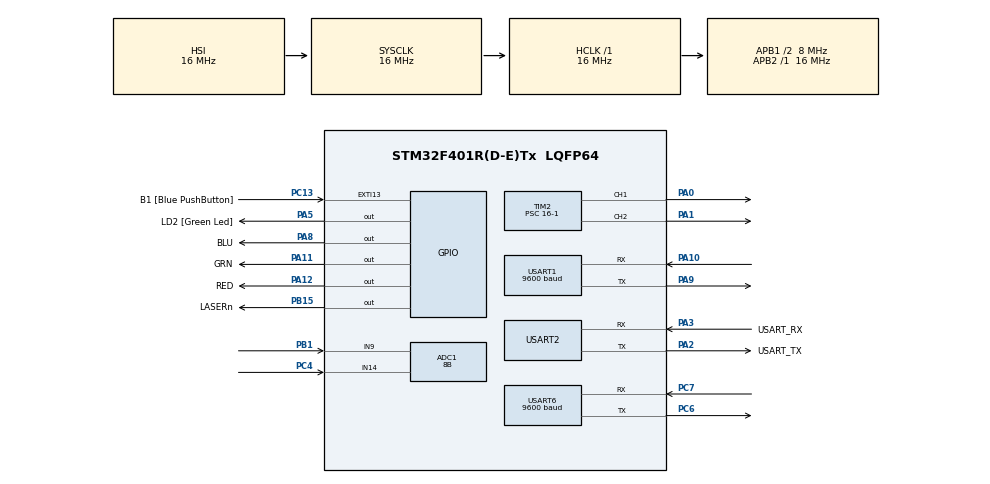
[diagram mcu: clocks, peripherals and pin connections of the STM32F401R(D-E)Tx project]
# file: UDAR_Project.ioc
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ADC1.Channel-0\#ChannelRegularConversion=ADC_CHANNEL_9
ADC1.NbrOfConversionFlag=1
ADC1.Rank-0\#ChannelRegularConversion=1
ADC1.Resolution=ADC_RESOLUTION_8B
ADC1.SamplingTime-0\#ChannelRegularConversion=ADC_SAMPLETIME_15CYCLES
ADC1.ScanConvMode=ENABLE
ADC1.master=1
Mcu.Family=STM32F4
Mcu.Name=STM32F401R(D-E)Tx
Mcu.Package=LQFP64
NVIC.PriorityGroup=NVIC_PRIORITYGROUP_0
NVIC.USART1_IRQn=true\:0\:0\:false\:false\:true\:true\:true\:true
PA0-WKUP.Signal=S_TIM2_CH1_ETR
PA1.Signal=S_TIM2_CH2
PA10.Mode=Asynchronous
PA10.Signal=USART1_RX
PA11.GPIO_Label=GRN
PA11.Signal=GPIO_Output
PA12.GPIO_Label=RED
PA12.Signal=GPIO_Output
PA13.GPIO_Label=TMS
PA13.Mode=Serial_Wire
PA13.Signal=SYS_JTMS-SWDIO
PA14.GPIO_Label=TCK
PA14.Mode=Serial_Wire
PA14.Signal=SYS_JTCK-SWCLK
PA2.GPIO_Label=USART_TX
PA2.GPIO_Mode=GPIO_MODE_AF_PP
PA2.GPIO_PuPd=GPIO_NOPULL
PA2.GPIO_Speed=GPIO_SPEED_FREQ_LOW
PA2.Mode=Asynchronous
PA2.Signal=USART2_TX
PA3.GPIO_Label=USART_RX
PA3.GPIO_Mode=GPIO_MODE_AF_PP
PA3.GPIO_PuPd=GPIO_NOPULL
PA3.GPIO_Speed=GPIO_SPEED_FREQ_LOW
PA3.Mode=Asynchronous
PA3.Signal=USART2_RX
PA5.GPIO_Label=LD2 [Green Led]
PA5.GPIO_Mode=GPIO_MODE_OUTPUT_PP
PA5.GPIO_PuPd=GPIO_NOPULL
PA5.GPIO_Speed=GPIO_SPEED_FREQ_LOW
PA5.Signal=GPIO_Output
PA8.GPIO_Label=BLU
PA8.Signal=GPIO_Output
PA9.Mode=Asynchronous
PA9.Signal=USART1_TX
PB1.Signal=ADCx_IN9
PB15.GPIO_Label=LASERn
PB15.PinState=GPIO_PIN_SET
PB15.Signal=GPIO_Output
PB3.GPIO_Label=SWO
PB3.Signal=SYS_JTDO-SWO
PC13-ANTI_TAMP.GPIO_Label=B1 [Blue PushButton]
PC13-ANTI_TAMP.GPIO_ModeDefaultEXTI=GPIO_MODE_IT_FALLING
PC13-ANTI_TAMP.GPIO_PuPd=GPIO_NOPULL
PC13-ANTI_TAMP.Signal=GPXTI13
PC14-OSC32_IN.Mode=LSE-External-Oscillator
PC14-OSC32_IN.Signal=RCC_OSC32_IN
PC15-OSC32_OUT.Mode=LSE-External-Oscillator
PC15-OSC32_OUT.Signal=RCC_OSC32_OUT
PC4.Signal=ADCx_IN14
PC6.Mode=Asynchronous
PC6.Signal=USART6_TX
PC7.Mode=Asynchronous
PC7.Signal=USART6_RX
PH0\ -\ OSC_IN.Mode=HSE-External-Clock-Source
PH0\ -\ OSC_IN.Signal=RCC_OSC_IN
PH1\ -\ OSC_OUT.Mode=HSE-External-Clock-Source
PH1\ -\ OSC_OUT.Signal=RCC_OSC_OUT
ProjectManager.HeapSize=0x200
ProjectManager.StackSize=0x400
ProjectManager.TargetToolchain=STM32CubeIDE
RCC.48MHZClocksFreq_Value=48000000
RCC.AHBFreq_Value=16000000
RCC.APB1CLKDivider=RCC_HCLK_DIV2
RCC.APB1Freq_Value=8000000
RCC.APB1TimFreq_Value=16000000
RCC.APB2Freq_Value=16000000
RCC.APB2TimFreq_Value=16000000
RCC.CortexFreq_Value=16000000
RCC.HCLKFreq_Value=16000000
RCC.HSE_VALUE=8000000
RCC.HSI_VALUE=16000000
RCC.PLLN=336
RCC.PLLP=RCC_PLLP_DIV4
RCC.PLLQ=7
RCC.SYSCLKFreq_VALUE=16000000
RCC.VCOOutputFreq_Value=336000000
SH.ADCx_IN14.0=ADC1_IN14,IN14
SH.ADCx_IN9.0=ADC1_IN9,IN9
SH.S_TIM2_CH1_ETR.0=TIM2_CH1,PWM Generation1 CH1
SH.S_TIM2_CH2.0=TIM2_CH2,PWM Generation2 CH2
TIM2.AutoReloadPreload=TIM_AUTORELOAD_PRELOAD_ENABLE
TIM2.Channel-PWM\ Generation1\ CH1=TIM_CHANNEL_1
TIM2.Channel-PWM\ Generation2\ CH2=TIM_CHANNEL_2
TIM2.Period=20000-1
TIM2.Prescaler=16-1
TIM2.Pulse-PWM\ Generation1\ CH1=500-1
TIM2.Pulse-PWM\ Generation2\ CH2=2500-1
USART1.BaudRate=9600
USART1.VirtualMode=VM_ASYNC
USART2.VirtualMode=VM_ASYNC
USART6.BaudRate=9600
USART6.Mode=MODE_TX_RX
USART6.VirtualMode=VM_ASYNC
VP_TIM2_VS_ClockSourceINT.Mode=Internal
board=NUCLEO-F401RE

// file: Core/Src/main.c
/* USER CODE BEGIN Header */
/**
 ******************************************************************************
 * @file           : main.c
 * @brief          : Main program body
 ******************************************************************************
 * @attention
 *
 * Copyright (c) 2022 STMicroelectronics.
 * All rights reserved.
 *
 * This software is licensed under terms that can be found in the LICENSE file
 * in the root directory of this software component.
 * If no LICENSE file comes with this software, it is provided AS-IS.
 *
 ******************************************************************************
 */
/* USER CODE END Header */
#include "main.h"
#include "adc.h"
#include "tim.h"
#include "usart.h"
#include "gpio.h"

/* USER CODE BEGIN Includes */
#include <string.h>
#include <stdio.h>
#include <stdlib.h>
/* USER CODE END Includes */

/* USER CODE BEGIN PD */

#define RGB_RED 0
#define RGB_GRN 1
#define RGB_BLU 2
/* USER CODE END PD */

/* USER CODE BEGIN PV */
/* servo pulse width */
volatile int pulse_width = 0;
int pulse_width_x = 1500;
int pulse_width_y = 1500;

/* not sure if this is needed tbh */
uint8_t rcv_intpt_flag = 0;

/* transmit message buffer */
uint8_t txd_msg_buffer[200] = {0};
uint8_t msg_buffer[200] = {0};

/* cmd to us100 to begin distance sensing */
uint8_t cmd_dist = {0x55};

/* us100 interrupt flag */
volatile uint8_t us100_rx_flag = 0;

/* two bytes to store dist value received from us100 */
volatile uint8_t us100_buffer[2] = {0};

/* 16 bit distance for reporting */
volatile uint16_t distance = 0;

int x = 128;
int y = 128;

int led_col = 0;
/* USER CODE END PV */

void SystemClock_Config(void);

/* USER CODE BEGIN 0 */
void read_us100_dist();
void send_dist_to_pc();
void step_servo_pulse_width(int amount);
void get_joystick();
void update_pulse_widths();
void toggle_laser(int state);

void send_bearing_and_distance();
void send_calibrated();

void cycle_led();
void set_led(int col);

int jump(int A, int B);
int get_us100_3meas_avg();

void print_automatic_mode_header();

void ADC_Select_CH();
/* USER CODE END 0 */

int main(void)
{

  /* MCU Configuration--------------------------------------------------------*/

  /* Reset of all peripherals, Initializes the Flash interface and the Systick. */
  HAL_Init();

  /* Configure the system clock */
  SystemClock_Config();

  /* Initialize all configured peripherals */
  MX_GPIO_Init();
  MX_USART2_UART_Init();
  MX_TIM2_Init();
  MX_USART1_UART_Init();
  MX_USART6_UART_Init();
  MX_ADC1_Init();
  /* USER CODE BEGIN 2 */
  int TIM2_Ch1_DCVAL = 1500;
  int TIM2_Ch2_DCVAL = 1500;
  pulse_width = 1500;

  HAL_TIM_Base_Start(&htim2);
  HAL_TIM_PWM_Start(&htim2, TIM_CHANNEL_1);
  HAL_TIM_PWM_Start(&htim2, TIM_CHANNEL_2);

  TIM2->PSC = 16 - 1;
  TIM2->ARR = 20000 - 1;
  TIM2->CCR1 = TIM2_Ch1_DCVAL;
  TIM2->CCR2 = TIM2_Ch2_DCVAL;

  toggle_laser(0); // set laser off

  /* startup code */
  int manual_mode = 0;
  int automatic_mode = 1;
  if (HAL_GPIO_ReadPin(B1_GPIO_Port, B1_Pin) == 0)
  {
    manual_mode = 1;
    HAL_GPIO_WritePin(GPIOA, LD2_Pin, GPIO_PIN_RESET);
    toggle_laser(1);
  }
  else
  {
    automatic_mode = 1;
    manual_mode = 0;
    HAL_GPIO_WritePin(GPIOA, LD2_Pin, GPIO_PIN_SET);
    toggle_laser(0);
    //    set_led(RGB_GRN);
  }
  /* USER CODE END 2 */

  /* Infinite loop */
  /* USER CODE BEGIN WHILE */
  while (manual_mode)
  {
    cycle_led();
    read_us100_dist();
    get_joystick();
    update_pulse_widths();
    TIM2->CCR1 = pulse_width_y;
    TIM2->CCR2 = pulse_width_x;
    // send bearing and distance to computer
    send_bearing_and_distance();
    HAL_Delay(500);
  }

  // we are not in manual mode, so we are in automatic mode

  /* setup for automatic mode */
  TIM2->CCR1 = 1500;
  TIM2->CCR2 = 500;
  pulse_width_x = 500;
  int num_objs = 0;
  int obj_detected = 0;
  int rising_edge;
  int falling_edge;
  int num_samples = 0;
  int avg_distance = 0;
  int angular_width_ticks = 0;
  int centerline_ticks = 0;
  int prev;
  us100_rx_flag = 0;

  HAL_Delay(500);
  set_led(RGB_RED);
  HAL_Delay(100);
  set_led(RGB_BLU);

  print_automatic_mode_header();
  HAL_GPIO_WritePin(GPIOA, LD2_Pin, GPIO_PIN_SET);
  distance = get_us100_3meas_avg();
  HAL_Delay(100);
  set_led(RGB_GRN);
  while (automatic_mode)
  {
    /* increment the sensor */
    TIM2->CCR2 = pulse_width_x;
    prev = distance;

    /* compute avg of current measurement */
    distance = get_us100_3meas_avg();
    //    set_led(RGB_RED);

    // send_bearing_and_distance();
    //    set_led(RGB_BLU);

    /* check for significant jump */

    if (distance < 1000 && obj_detected == 0) // this is the start of the object
    {
      rising_edge = pulse_width_x;
      obj_detected = 1;
      set_led(RGB_RED);
      toggle_laser(1);
    }
    if (distance > 1000 && obj_detected == 1) // this is the end of the object
    {
      falling_edge = pulse_width_x;
      num_objs += 1;
      obj_detected = 0;
      set_led(RGB_GRN);
      toggle_laser(0);

      // print output
      /*
       * angular width = rising - falling - 211
       * centerline (microseconds) = avg(rising, falling) - [(pb1+pb2)/2-1500]
       */
      angular_width_ticks = rising_edge - falling_edge - 211;
      centerline_ticks = (rising_edge + falling_edge) / 2 + 20;
      avg_distance = (avg_distance / num_samples) + 50;

      /* convert to degrees */
      int bearing_center = (((9 * centerline_ticks) / 100) - 135);
      int angular_width = abs(9 * angular_width_ticks / 100);
      sprintf((char *)msg_buffer, "\r\n%d,\t%d\t%d\t%d", num_objs, bearing_center, avg_distance, angular_width);
      HAL_UART_Transmit(&huart6, msg_buffer, strlen((char *)msg_buffer), 500);

      avg_distance = 0;
      num_samples = 0;

      TIM2->CCR2 = centerline_ticks;
      for (int i = 0; i < 3; ++i)
      {
        /* toggle laser 3 times */
        toggle_laser(1);
        HAL_Delay(200);
        toggle_laser(0);
        HAL_Delay(200);
      }
      toggle_laser(0); // keep laser off for rest of scanning
    }

    /* log information */
    if (obj_detected)
    {
      avg_distance += distance;
      num_samples += 1;
    }

    HAL_Delay(400);
    pulse_width_x += 20;
    if (pulse_width_x >= 2500)
    {
      break;
    }
  }
  toggle_laser(0);
  set_led(RGB_BLU);
  /* USER CODE END WHILE */

}

void SystemClock_Config(void)
{
  RCC_OscInitTypeDef RCC_OscInitStruct = {0};
  RCC_ClkInitTypeDef RCC_ClkInitStruct = {0};

  /** Configure the main internal regulator output voltage
   */
  __HAL_RCC_PWR_CLK_ENABLE();
  __HAL_PWR_VOLTAGESCALING_CONFIG(PWR_REGULATOR_VOLTAGE_SCALE2);

  /** Initializes the RCC Oscillators according to the specified parameters
   * in the RCC_OscInitTypeDef structure.
   */
  RCC_OscInitStruct.OscillatorType = RCC_OSCILLATORTYPE_HSI;
  RCC_OscInitStruct.HSIState = RCC_HSI_ON;
  RCC_OscInitStruct.HSICalibrationValue = RCC_HSICALIBRATION_DEFAULT;
  RCC_OscInitStruct.PLL.PLLState = RCC_PLL_NONE;
  if (HAL_RCC_OscConfig(&RCC_OscInitStruct) != HAL_OK)
  {
    Error_Handler();
  }

  /** Initializes the CPU, AHB and APB buses clocks
   */
  RCC_ClkInitStruct.ClockType = RCC_CLOCKTYPE_HCLK | RCC_CLOCKTYPE_SYSCLK | RCC_CLOCKTYPE_PCLK1 | RCC_CLOCKTYPE_PCLK2;
  RCC_ClkInitStruct.SYSCLKSource = RCC_SYSCLKSOURCE_HSI;
  RCC_ClkInitStruct.AHBCLKDivider = RCC_SYSCLK_DIV1;
  RCC_ClkInitStruct.APB1CLKDivider = RCC_HCLK_DIV2;
  RCC_ClkInitStruct.APB2CLKDivider = RCC_HCLK_DIV1;

  if (HAL_RCC_ClockConfig(&RCC_ClkInitStruct, FLASH_LATENCY_0) != HAL_OK)
  {
    Error_Handler();
  }
}

/* USER CODE BEGIN 4 */
/* This callback is called by the HAL_UART_IRQHandler when the given number of bytes are received */
void HAL_UART_RxCpltCallback(UART_HandleTypeDef *huart)
{
  if (huart->Instance == USART1)
  {
    us100_rx_flag = 01; // this flag is set to show that an receiver interrupt has occurred
  }
}

void read_us100_dist()
{
  HAL_UART_Receive_IT(&huart1, &us100_buffer, 2); // get the UART Receiver ready to receive data and then generate an interrupt
  HAL_UART_Transmit(&huart1, &cmd_dist, 1, 500);  // send out the command to the US-100 (TRIG Input)

  while (us100_rx_flag == (00))
  {
  }; // wait for the Flag to be set by the Interrupt Callback routine

  distance = (us100_buffer[0] << 8) + us100_buffer[1]; // convert the two indivual byts into a single 16 bit quantity

  // this section is handled by send_dist_to_pc();
  us100_rx_flag = 00;
  return;
}

void send_dist_to_pc()
{
  sprintf((char *)msg_buffer, "\r\n Distance Sensed (mm)= %d", distance);  // set up the report content
  HAL_Delay(200);                                                          // this is just used to slow down the sequence (user determined)
  HAL_UART_Transmit(&huart6, msg_buffer, strlen((char *)msg_buffer), 500); // send out the report
  return;
}

void step_servo_pulse_width(int amount)
{
  return;
}

void get_joystick()
{
  ADC_Select_CH(9);
  HAL_ADC_Start(&hadc1);
  HAL_ADC_PollForConversion(&hadc1, 1000);
  y = HAL_ADC_GetValue(&hadc1);
  HAL_ADC_Stop(&hadc1);

  ADC_Select_CH(14);
  HAL_ADC_Start(&hadc1);
  HAL_ADC_PollForConversion(&hadc1, 1000);
  x = HAL_ADC_GetValue(&hadc1);
  HAL_ADC_Stop(&hadc1);
  /* USER CODE END WHILE */

  /* USER CODE BEGIN 3 */
  //  sprintf((char *)txd_msg_buffer, "\r\n x = %d, y = %d", x, y);
  //  HAL_UART_Transmit(&huart6, txd_msg_buffer, strlen((char *)txd_msg_buffer), 1000);
}

void cycle_led()
{
  switch (led_col)
  {
  case 0:
    // all off
    // turn RED on
    /*Configure GPIO pin Output Level */
    HAL_GPIO_WritePin(GPIOA, BLU_Pin | GRN_Pin | RED_Pin, GPIO_PIN_RESET);

    /*Configure GPIO pin Output Level */
    HAL_GPIO_WritePin(GPIOA, RED_Pin, GPIO_PIN_SET);
    led_col = 1;
    break;
  case 1:
    // red on
    // turn GRN on
    /*Configure GPIO pin Output Level */
    HAL_GPIO_WritePin(GPIOA, BLU_Pin | GRN_Pin | RED_Pin, GPIO_PIN_RESET);

    /*Configure GPIO pin Output Level */
    HAL_GPIO_WritePin(GPIOA, GRN_Pin, GPIO_PIN_SET);
    led_col = 2;
    break;
  case 2:
    // grn on
    // turn BLU on
    /*Configure GPIO pin Output Level */
    HAL_GPIO_WritePin(GPIOA, BLU_Pin | GRN_Pin | RED_Pin, GPIO_PIN_RESET);

    /*Configure GPIO pin Output Level */
    HAL_GPIO_WritePin(GPIOA, BLU_Pin, GPIO_PIN_SET);
    led_col = 3;
    break;
  case 3:
    // blu on
    // turn RED on
    /*Configure GPIO pin Output Level */
    HAL_GPIO_WritePin(GPIOA, BLU_Pin | GRN_Pin | RED_Pin, GPIO_PIN_RESET);

    /*Configure GPIO pin Output Level */
    HAL_GPIO_WritePin(GPIOA, RED_Pin, GPIO_PIN_SET);
    led_col = 1;
    break;
  }
}

void set_led(int col)
{
  switch (col)
  {
  case 0:
    // turn RED on
    /*Configure GPIO pin Output Level */
    HAL_GPIO_WritePin(GPIOA, BLU_Pin | GRN_Pin | RED_Pin, GPIO_PIN_RESET);

    /*Configure GPIO pin Output Level */
    HAL_GPIO_WritePin(GPIOA, RED_Pin, GPIO_PIN_SET);
    break;
  case 1:
    // turn GRN on
    /*Configure GPIO pin Output Level */
    HAL_GPIO_WritePin(GPIOA, BLU_Pin | GRN_Pin | RED_Pin, GPIO_PIN_RESET);

    /*Configure GPIO pin Output Level */
    HAL_GPIO_WritePin(GPIOA, GRN_Pin, GPIO_PIN_SET);
    break;
  case 2:
    // turn BLU on
    /*Configure GPIO pin Output Level */
    HAL_GPIO_WritePin(GPIOA, BLU_Pin | GRN_Pin | RED_Pin, GPIO_PIN_RESET);

    /*Configure GPIO pin Output Level */
    HAL_GPIO_WritePin(GPIOA, BLU_Pin, GPIO_PIN_SET);
    break;
  }
}

void update_pulse_widths()
{
  // update x.
  if (0 <= x && x <= 68)
  {
    pulse_width_x -= 40;
  }
  else if (69 <= x && x <= 119)
  {
    pulse_width_x -= 20;
  }
  else if (131 <= x && x <= 180)
  {
    pulse_width_x += 20;
  }
  else if (181 <= x && x <= 255)
  {
    pulse_width_x += 40;
  }

  // update y
  if (0 <= y && y <= 68)
  {
    pulse_width_y -= 40;
  }
  else if (69 <= y && y <= 119)
  {
    pulse_width_y -= 20;
  }
  else if (131 <= y && y <= 180)
  {
    pulse_width_y += 20;
  }
  else if (181 <= y && y <= 255)
  {
    pulse_width_y += 40;
  }

  // bound checking
  if (pulse_width_x <= 500)
  {
    pulse_width_x = 500;
  }
  else if (pulse_width_x >= 2500)
  {
    pulse_width_x = 2500;
  }

  if (pulse_width_y <= 500)
  {
    pulse_width_y = 500;
  }
  else if (pulse_width_y >= 2500)
  {
    pulse_width_y = 2500;
  }

  // bound checking
}

void toggle_laser(int state)
{
  if (state == 1)
  {
    // on
    HAL_GPIO_WritePin(LASERn_GPIO_Port, LASERn_Pin, GPIO_PIN_SET);
  }
  else
  {
    // off
    HAL_GPIO_WritePin(LASERn_GPIO_Port, LASERn_Pin, GPIO_PIN_RESET);
  }
}
void ADC_Select_CH(int CH)
{
  ADC_ChannelConfTypeDef sConfig = {0};
  switch (CH)
  {
  case 0:
    sConfig.Channel = ADC_CHANNEL_0;
    sConfig.Rank = 1;
    if (HAL_ADC_ConfigChannel(&hadc1, &sConfig) != HAL_OK)
    {
      Error_Handler();
    }
    break;
  case 1:
    sConfig.Channel = ADC_CHANNEL_1;
    sConfig.Rank = 1;
    if (HAL_ADC_ConfigChannel(&hadc1, &sConfig) != HAL_OK)
    {
      Error_Handler();
    }
    break;
  case 2:
    sConfig.Channel = ADC_CHANNEL_2;
    sConfig.Rank = 1;
    if (HAL_ADC_ConfigChannel(&hadc1, &sConfig) != HAL_OK)
    {
      Error_Handler();
    }
    break;
  case 3:
    sConfig.Channel = ADC_CHANNEL_3;
    sConfig.Rank = 1;
    if (HAL_ADC_ConfigChannel(&hadc1, &sConfig) != HAL_OK)
    {
      Error_Handler();
    }
    break;
  case 4:
    sConfig.Channel = ADC_CHANNEL_4;
    sConfig.Rank = 1;
    if (HAL_ADC_ConfigChannel(&hadc1, &sConfig) != HAL_OK)
    {
      Error_Handler();
    }
    break;
  case 5:
    sConfig.Channel = ADC_CHANNEL_5;
    sConfig.Rank = 1;
    if (HAL_ADC_ConfigChannel(&hadc1, &sConfig) != HAL_OK)
    {
      Error_Handler();
    }
    break;
  case 6:
    sConfig.Channel = ADC_CHANNEL_6;
    sConfig.Rank = 1;
    if (HAL_ADC_ConfigChannel(&hadc1, &sConfig) != HAL_OK)
    {
      Error_Handler();
    }
    break;
  case 7:
    sConfig.Channel = ADC_CHANNEL_7;
    sConfig.Rank = 1;
    if (HAL_ADC_ConfigChannel(&hadc1, &sConfig) != HAL_OK)
    {
      Error_Handler();
    }
    break;
  case 8:
    sConfig.Channel = ADC_CHANNEL_8;
    sConfig.Rank = 1;
    if (HAL_ADC_ConfigChannel(&hadc1, &sConfig) != HAL_OK)
    {
      Error_Handler();
    }
    break;
  case 9:
    sConfig.Channel = ADC_CHANNEL_9;
    sConfig.Rank = 1;
    if (HAL_ADC_ConfigChannel(&hadc1, &sConfig) != HAL_OK)
    {
      Error_Handler();
    }
    break;
  case 10:
    sConfig.Channel = ADC_CHANNEL_10;
    sConfig.Rank = 1;
    if (HAL_ADC_ConfigChannel(&hadc1, &sConfig) != HAL_OK)
    {
      Error_Handler();
    }
    break;
  case 11:
    sConfig.Channel = ADC_CHANNEL_11;
    sConfig.Rank = 1;
    if (HAL_ADC_ConfigChannel(&hadc1, &sConfig) != HAL_OK)
    {
      Error_Handler();
    }
    break;
  case 12:
    sConfig.Channel = ADC_CHANNEL_12;
    sConfig.Rank = 1;
    if (HAL_ADC_ConfigChannel(&hadc1, &sConfig) != HAL_OK)
    {
      Error_Handler();
    }
    break;
  case 13:
    sConfig.Channel = ADC_CHANNEL_13;
    sConfig.Rank = 1;
    if (HAL_ADC_ConfigChannel(&hadc1, &sConfig) != HAL_OK)
    {
      Error_Handler();
    }
    break;
  case 14:
    sConfig.Channel = ADC_CHANNEL_14;
    sConfig.Rank = 1;
    if (HAL_ADC_ConfigChannel(&hadc1, &sConfig) != HAL_OK)
    {
      Error_Handler();
    }
    break;
  case 15:
    sConfig.Channel = ADC_CHANNEL_15;
    sConfig.Rank = 1;
    if (HAL_ADC_ConfigChannel(&hadc1, &sConfig) != HAL_OK)
    {
      Error_Handler();
    }
    break;
  }
}

void send_bearing_and_distance()
{
  // acc deg = (max_deg - min_deg) / (max_pw - min_pw) * pw - 135?

  int deg = (((9 * pulse_width_x) / 100) - 135);

  sprintf((char *)msg_buffer, "\r\n Bearing = %d degrees, Distance Sensed (mm)= %d", deg, distance + 50); // set up the report content                                                       // this is just used to slow down the sequence (user determined)
  HAL_UART_Transmit(&huart6, msg_buffer, strlen((char *)msg_buffer), 500);                                // send out the report
  return;
}

int jump(int A, int B)
{
  if (abs(A - B) > 60)
  {
    sprintf((char *)msg_buffer, "\r\n Jump detected"); // set up the report content                                                       // this is just used to slow down the sequence (user determined)
    HAL_UART_Transmit(&huart6, msg_buffer, strlen((char *)msg_buffer), 500);
    return 1;
  }
  return 0;
}

void print_automatic_mode_header()
{
  sprintf((char *)msg_buffer, "\r\n LS004 Team08,\tCalibrated FOV ,\tFOV Centerline correction (degrees)\r\nObject:(n),\t Bearing to Object CENTER: (degrees),\tDISTANCE: to Object (mm),\tObject Angular Width:(degrees)"); // set up the report content                                                       // this is just used to slow down the sequence (user determined)
  HAL_UART_Transmit(&huart6, msg_buffer, strlen((char *)msg_buffer), 500);                                                                                                                                                   // send out the report
}

int get_us100_3meas_avg()
{
  int total = 0;
  HAL_UART_Receive_IT(&huart1, &us100_buffer, 2); // get the UART Receiver ready to receive data and then generate an interrupt
  HAL_UART_Transmit(&huart1, &cmd_dist, 1, 500);  // send out the command to the US-100 (TRIG Input)

  while (us100_rx_flag == (00))
  {
  }; // wait for the Flag to be set by the Interrupt Callback routine

  total += (us100_buffer[0] << 8) + us100_buffer[1]; // convert the two indivual byts into a single 16 bit quantity

  // this section is handled by send_dist_to_pc();
  us100_rx_flag = 00;

  HAL_Delay(50);

  HAL_UART_Receive_IT(&huart1, &us100_buffer, 2); // get the UART Receiver ready to receive data and then generate an interrupt
  HAL_UART_Transmit(&huart1, &cmd_dist, 1, 500);  // send out the command to the US-100 (TRIG Input)

  while (us100_rx_flag == (00))
  {
  }; // wait for the Flag to be set by the Interrupt Callback routine

  total += (us100_buffer[0] << 8) + us100_buffer[1]; // convert the two indivual byts into a single 16 bit quantity

  // this section is handled by send_dist_to_pc();
  us100_rx_flag = 00;

  HAL_Delay(50);

  HAL_UART_Receive_IT(&huart1, &us100_buffer, 2); // get the UART Receiver ready to receive data and then generate an interrupt
  HAL_UART_Transmit(&huart1, &cmd_dist, 1, 500);  // send out the command to the US-100 (TRIG Input)

  while (us100_rx_flag == (00))
  {
  }; // wait for the Flag to be set by the Interrupt Callback routine

  total += (us100_buffer[0] << 8) + us100_buffer[1]; // convert the two indivual byts into a single 16 bit quantity

  // this section is handled by send_dist_to_pc();
  us100_rx_flag = 00;

  total = total / 3;
  return total;
}
/* USER CODE END 4 */

void Error_Handler(void)
{
  __disable_irq();
  while (1)
  {
  }
}
